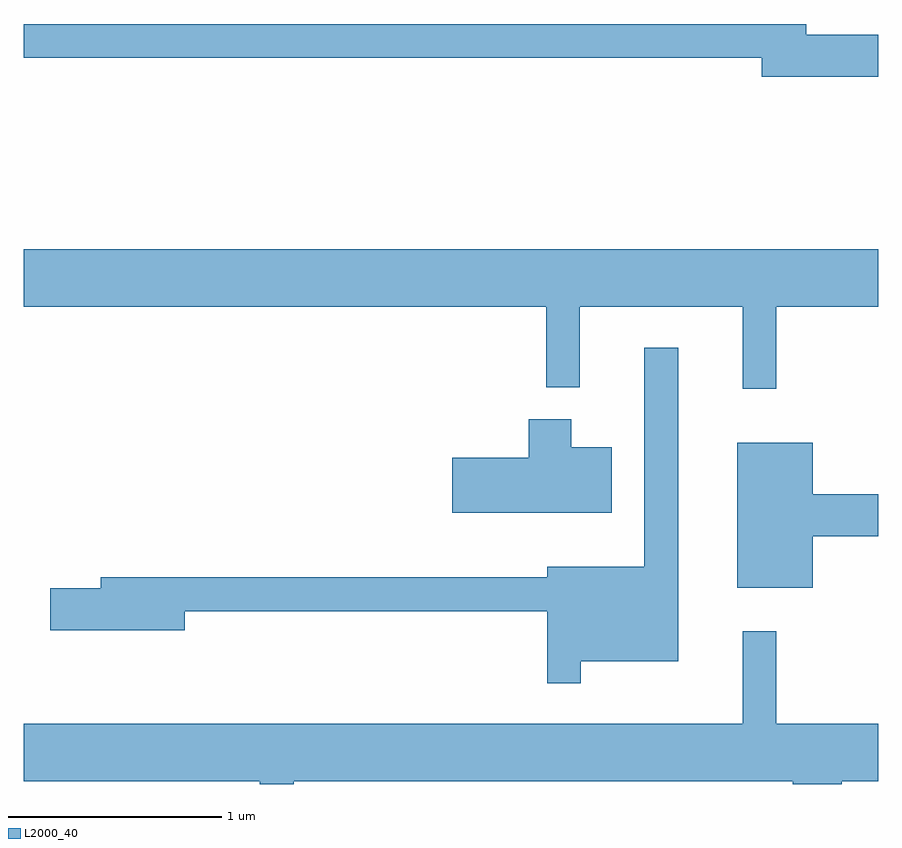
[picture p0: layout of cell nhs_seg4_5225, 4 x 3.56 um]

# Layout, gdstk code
import gdstk
lib = gdstk.Library(unit=1e-6, precision=1e-09)
def P(c, l, *ps):  # polygons
    for p in ps: c.add(gdstk.Polygon(p, *l))
L2000_40 = (2000, 40)

nhs_seg4_5225 = lib.new_cell('nhs_seg4_5225')
P(nhs_seg4_5225, L2000_40, [(341.611,1371.489),(341.274,1371.489),(341.274,1371.539),(337.611,1371.539),(337.611,1371.381),(341.066,1371.381),(341.066,1371.291),(341.611,1371.291)],
  [(341.134,1370.216),(341.611,1370.216),(341.611,1370.484),(337.611,1370.484),(337.611,1370.216),(340.056,1370.216),(340.056,1369.838),(340.214,1369.838),(340.214,1370.216),(340.976,1370.216),(340.976,1369.833),(341.134,1369.833)],
  [(340.219,1368.556),(340.674,1368.556),(340.674,1370.023),(340.516,1370.023),(340.516,1368.999),(340.061,1368.999),(340.061,1368.949),(337.971,1368.949),(337.971,1368.899),(337.736,1368.899),(337.736,1368.701),(338.364,1368.701),(338.364,1368.791),(340.061,1368.791),(340.061,1368.453),(340.219,1368.453)],
  [(340.364,1369.559),(340.174,1369.559),(340.174,1369.689),(339.976,1369.689),(339.976,1369.509),(339.616,1369.509),(339.616,1369.251),(340.364,1369.251)],
  [(341.304,1369.141),(341.611,1369.141),(341.611,1369.339),(341.304,1369.339),(341.304,1369.579),(340.951,1369.579),(340.951,1368.901),(341.304,1368.901)],
  [(338.874,1367.996),(341.211,1367.996),(341.211,1367.982),(341.439,1367.982),(341.439,1367.996),(341.611,1367.996),(341.611,1368.264),(341.134,1368.264),(341.134,1368.698),(340.976,1368.698),(340.976,1368.264),(337.611,1368.264),(337.611,1367.996),(338.716,1367.996),(338.716,1367.982),(338.874,1367.982)])

lib.write_gds('nhs_seg4_5225.gds')
